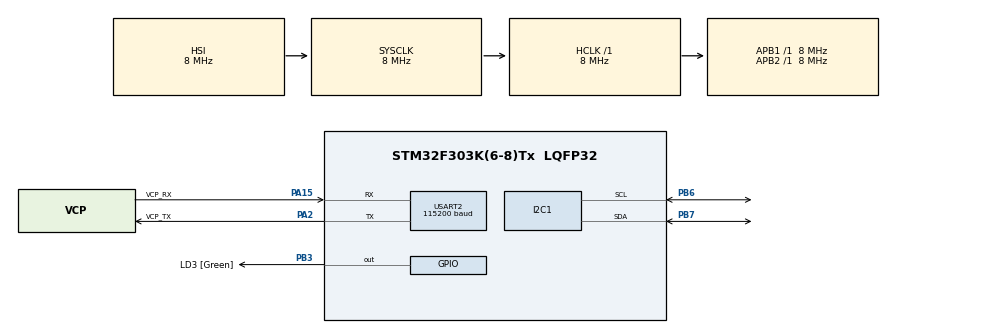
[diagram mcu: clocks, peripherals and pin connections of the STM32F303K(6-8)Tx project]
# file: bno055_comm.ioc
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Mcu.Family=STM32F3
Mcu.Name=STM32F303K(6-8)Tx
Mcu.Package=LQFP32
NVIC.I2C1_EV_IRQn=true\:0\:0\:false\:false\:true\:true\:true
NVIC.PriorityGroup=NVIC_PRIORITYGROUP_4
PA13.GPIO_Label=SWDIO
PA13.Mode=Serial_Wire
PA13.Signal=SYS_JTMS-SWDIO
PA14.GPIO_Label=SWCLK
PA14.Mode=Serial_Wire
PA14.Signal=SYS_JTCK-SWCLK
PA15.GPIO_Label=VCP_RX
PA15.Mode=Asynchronous
PA15.Signal=USART2_RX
PA2.GPIO_Label=VCP_TX
PA2.Mode=Asynchronous
PA2.Signal=USART2_TX
PB3.GPIO_Label=LD3 [Green]
PB3.Signal=GPIO_Output
PB6.Mode=I2C
PB6.Signal=I2C1_SCL
PB7.Mode=I2C
PB7.Signal=I2C1_SDA
PF0\ /\ OSC_IN.GPIO_Label=MCO
PF0\ /\ OSC_IN.Mode=HSE-External-Clock-Source
PF0\ /\ OSC_IN.Signal=RCC_OSC_IN
ProjectManager.HeapSize=0x200
ProjectManager.StackSize=0x400
ProjectManager.TargetToolchain=TrueSTUDIO
RCC.AHBFreq_Value=8000000
RCC.APB1Freq_Value=8000000
RCC.APB2Freq_Value=8000000
RCC.CortexFreq_Value=8000000
RCC.HSE_VALUE=8000000
RCC.HSI_VALUE=8000000
RCC.SYSCLKFreq_VALUE=8000000
USART2.BaudRate=115200
USART2.VirtualMode-Asynchronous=VM_ASYNC
board=NUCLEO-F303K8

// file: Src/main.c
/* USER CODE BEGIN Header */
/**
  ******************************************************************************
  * @file           : main.c
  * @brief          : Main program body
  ******************************************************************************
  * @attention
  *
  * <h2><center>&copy; Copyright (c) 2019 STMicroelectronics.
  * All rights reserved.</center></h2>
  *
  * This software component is licensed by ST under BSD 3-Clause license,
  * the "License"; You may not use this file except in compliance with the
  * License. You may obtain a copy of the License at:
  *                        opensource.org/licenses/BSD-3-Clause
  *
  ******************************************************************************
  */
/* USER CODE END Header */

#include "main.h"

I2C_HandleTypeDef hi2c1;

UART_HandleTypeDef huart2;

void SystemClock_Config(void);
static void MX_GPIO_Init(void);
static void MX_USART2_UART_Init(void);
static void MX_I2C1_Init(void);
/* USER CODE BEGIN PFP */
/* Direct printf to output somewhere */
#ifdef __GNUC__
#define PUTCHAR_PROTOTYPE int __io_putchar(int ch)
#else
#define PUTCHAR_PROTOTYPE int fputc(int ch, FILE *f)
#endif /* __GNUC__ */

#ifndef __UUID_H
#define __UUID_H
//#define STM32_UUID ((uint32_t *)0x1FF0F420)
#define STM32_UUID ((uint32_t *)UID_BASE)
#endif //__UUID_H
/* USER CODE END PFP */

/* USER CODE BEGIN 0 */
int __io_putchar(uint8_t ch) {
	HAL_UART_Transmit(&huart2, &ch, 1, 1);
    return 0;
}
/* USER CODE END 0 */

int main(void)
{
  /* USER CODE BEGIN 1 */
	setbuf(stdout, NULL);
  /* USER CODE END 1 */

  /* MCU Configuration--------------------------------------------------------*/

  /* Reset of all peripherals, Initializes the Flash interface and the Systick. */
  HAL_Init();

  /* Configure the system clock */
  SystemClock_Config();

  /* Initialize all configured peripherals */
  MX_GPIO_Init();
  MX_USART2_UART_Init();
  MX_I2C1_Init();
  /* USER CODE BEGIN 2 */
  printf("Scanning I2C bus:\r\n");
  	HAL_StatusTypeDef result;
   	uint8_t i;
  for (i=1; i<128; i++)
   	{
   	  /*
   	   * the HAL wants a left aligned i2c address
   	   * &hi2c1 is the handle
   	   * (uint16_t)(i<<1) is the i2c address left aligned
   	   * retries 2
   	   * timeout 2
   	   */
   	  result = HAL_I2C_IsDeviceReady(&hi2c1, (uint16_t)(i<<1), 2, 2);
   	  if (result != HAL_OK) // HAL_ERROR or HAL_BUSY or HAL_TIMEOUT
   	  {
   		  printf("."); // No ACK received at that address
   	  }
   	  if (result == HAL_OK)
   	  {
   		  printf("0x%X", i); // Received an ACK at that address
   	  }
   	}
   	printf("\n");

   	uint16_t address = 0x29;
   	result = HAL_I2C_IsDeviceReady(&hi2c1,address<<1, 2, 2);
	if (result != HAL_OK) // HAL_ERROR or HAL_BUSY or HAL_TIMEOUT
	{
	  printf("address err"); // No ACK received at that address
	}
	if (result == HAL_OK)
	{
	  printf("address ok!"); // Received an ACK at that address
	}
  /* USER CODE END 2 */

  /* Infinite loop */
  /* USER CODE BEGIN WHILE */
	uint8_t bno_readquat_address = 0x20;
	uint8_t bno_mode_senddata[] = {0x3d,0x08};
	volatile uint8_t bno_receivedata[16];
	volatile short quat[4];
	HAL_I2C_Master_Transmit(&hi2c1, address<<1, bno_mode_senddata, 2, 100);
	while (1)
	{
	    HAL_I2C_Master_Transmit(&hi2c1, address<<1, &bno_readquat_address, 1, 100);
	    HAL_I2C_Master_Receive(&hi2c1, address<<1, bno_receivedata, 8, 100);
	    quat[0] = bno_receivedata[1] << 8 | bno_receivedata[0];
		quat[1] = bno_receivedata[3] << 8 | bno_receivedata[2];
		quat[2] = bno_receivedata[5] << 8 | bno_receivedata[4];
		quat[3] = bno_receivedata[7] << 8 | bno_receivedata[6];

		printf("%f,%f,%f,%f\n",(float)quat[0]/16384.0,(float)quat[1]/16384.0,(float)quat[2]/16384.0,(float)quat[3]/16384.0);
    /* USER CODE END WHILE */

  }
}

void SystemClock_Config(void)
{
  RCC_OscInitTypeDef RCC_OscInitStruct = {0};
  RCC_ClkInitTypeDef RCC_ClkInitStruct = {0};
  RCC_PeriphCLKInitTypeDef PeriphClkInit = {0};

  /** Initializes the CPU, AHB and APB busses clocks
  */
  RCC_OscInitStruct.OscillatorType = RCC_OSCILLATORTYPE_HSI;
  RCC_OscInitStruct.HSIState = RCC_HSI_ON;
  RCC_OscInitStruct.HSICalibrationValue = RCC_HSICALIBRATION_DEFAULT;
  RCC_OscInitStruct.PLL.PLLState = RCC_PLL_NONE;
  if (HAL_RCC_OscConfig(&RCC_OscInitStruct) != HAL_OK)
  {
    Error_Handler();
  }
  /** Initializes the CPU, AHB and APB busses clocks
  */
  RCC_ClkInitStruct.ClockType = RCC_CLOCKTYPE_HCLK|RCC_CLOCKTYPE_SYSCLK
                              |RCC_CLOCKTYPE_PCLK1|RCC_CLOCKTYPE_PCLK2;
  RCC_ClkInitStruct.SYSCLKSource = RCC_SYSCLKSOURCE_HSI;
  RCC_ClkInitStruct.AHBCLKDivider = RCC_SYSCLK_DIV1;
  RCC_ClkInitStruct.APB1CLKDivider = RCC_HCLK_DIV1;
  RCC_ClkInitStruct.APB2CLKDivider = RCC_HCLK_DIV1;

  if (HAL_RCC_ClockConfig(&RCC_ClkInitStruct, FLASH_LATENCY_0) != HAL_OK)
  {
    Error_Handler();
  }
  PeriphClkInit.PeriphClockSelection = RCC_PERIPHCLK_I2C1;
  PeriphClkInit.I2c1ClockSelection = RCC_I2C1CLKSOURCE_HSI;
  if (HAL_RCCEx_PeriphCLKConfig(&PeriphClkInit) != HAL_OK)
  {
    Error_Handler();
  }
}

static void MX_I2C1_Init(void)
{

  hi2c1.Instance = I2C1;
  hi2c1.Init.Timing = 0x2000090E;
  hi2c1.Init.OwnAddress1 = 0;
  hi2c1.Init.AddressingMode = I2C_ADDRESSINGMODE_7BIT;
  hi2c1.Init.DualAddressMode = I2C_DUALADDRESS_DISABLE;
  hi2c1.Init.OwnAddress2 = 0;
  hi2c1.Init.OwnAddress2Masks = I2C_OA2_NOMASK;
  hi2c1.Init.GeneralCallMode = I2C_GENERALCALL_DISABLE;
  hi2c1.Init.NoStretchMode = I2C_NOSTRETCH_DISABLE;
  if (HAL_I2C_Init(&hi2c1) != HAL_OK)
  {
    Error_Handler();
  }
  /** Configure Analogue filter
  */
  if (HAL_I2CEx_ConfigAnalogFilter(&hi2c1, I2C_ANALOGFILTER_ENABLE) != HAL_OK)
  {
    Error_Handler();
  }
  /** Configure Digital filter
  */
  if (HAL_I2CEx_ConfigDigitalFilter(&hi2c1, 0) != HAL_OK)
  {
    Error_Handler();
  }

}

static void MX_USART2_UART_Init(void)
{

  huart2.Instance = USART2;
  huart2.Init.BaudRate = 115200;
  huart2.Init.WordLength = UART_WORDLENGTH_8B;
  huart2.Init.StopBits = UART_STOPBITS_1;
  huart2.Init.Parity = UART_PARITY_NONE;
  huart2.Init.Mode = UART_MODE_TX_RX;
  huart2.Init.HwFlowCtl = UART_HWCONTROL_NONE;
  huart2.Init.OverSampling = UART_OVERSAMPLING_16;
  huart2.Init.OneBitSampling = UART_ONE_BIT_SAMPLE_DISABLE;
  huart2.AdvancedInit.AdvFeatureInit = UART_ADVFEATURE_NO_INIT;
  if (HAL_UART_Init(&huart2) != HAL_OK)
  {
    Error_Handler();
  }

}

static void MX_GPIO_Init(void)
{
  GPIO_InitTypeDef GPIO_InitStruct = {0};

  /* GPIO Ports Clock Enable */
  __HAL_RCC_GPIOF_CLK_ENABLE();
  __HAL_RCC_GPIOA_CLK_ENABLE();
  __HAL_RCC_GPIOB_CLK_ENABLE();

  /*Configure GPIO pin Output Level */
  HAL_GPIO_WritePin(LD3_GPIO_Port, LD3_Pin, GPIO_PIN_RESET);

  /*Configure GPIO pin : LD3_Pin */
  GPIO_InitStruct.Pin = LD3_Pin;
  GPIO_InitStruct.Mode = GPIO_MODE_OUTPUT_PP;
  GPIO_InitStruct.Pull = GPIO_NOPULL;
  GPIO_InitStruct.Speed = GPIO_SPEED_FREQ_LOW;
  HAL_GPIO_Init(LD3_GPIO_Port, &GPIO_InitStruct);

}

void Error_Handler(void)
{
}

/************************ (C) COPYRIGHT STMicroelectronics *****END OF FILE****/
